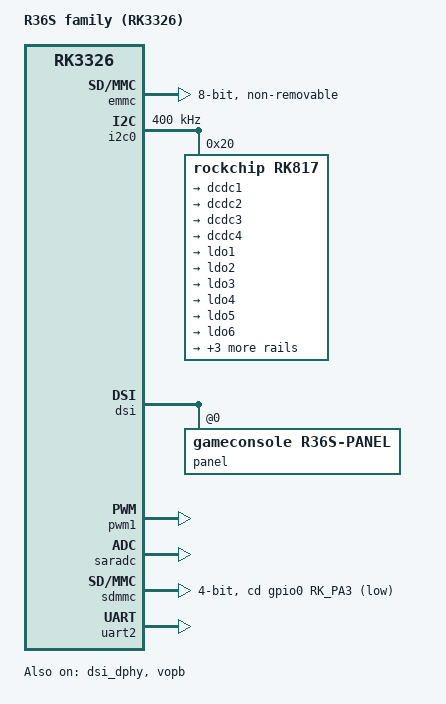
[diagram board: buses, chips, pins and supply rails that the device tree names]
// SPDX-License-Identifier: (GPL-2.0+ OR MIT)
/*
 * U-Boot control device tree for the R36S family (RK3326 handhelds).
 *
 * Only what every board of the family shares lives here. The board
 * specific parts (panel, backlight, PMIC rails, LEDs) come from the
 * screen DTB on the BOOT partition at run time, as with the vendor
 * U-Boot (rg351mp-uboot.dtb, rg351v-uboot.dtb, rg351p-uboot.dtb).
 */

/dts-v1/;
#include <dt-bindings/gpio/gpio.h>
#include <dt-bindings/pinctrl/rockchip.h>
#include "rk3326.dtsi"

/ {
	model = "R36S family (RK3326)";
	compatible = "gameconsole,r36s", "rockchip,rk3326";

	aliases {
		mmc0 = &emmc;
		mmc1 = &sdmmc;
	};

	chosen {
		stdout-path = "serial2:115200n8";
	};
};

/*
 * Built-in eMMC (some clones). Its pins (GPIO1_A0-A7, B1, B2) are button
 * pins on boards without eMMC, so the node has no pinctrl: board code
 * hands the pins to the eMMC only when it is used (vendor
 * andr36oid_emmc_pins()).
 */
&emmc {
	/delete-property/ pinctrl-names;
	/delete-property/ pinctrl-0;
	bus-width = <8>;
	cap-mmc-highspeed;
	non-removable;
	max-frequency = <26000000>;
	status = "okay";
};

&i2c0 {
	clock-frequency = <400000>;
	i2c-scl-falling-time-ns = <16>;
	i2c-scl-rising-time-ns = <280>;
	status = "okay";

	rk817: pmic@20 {
		compatible = "rockchip,rk817";
		reg = <0x20>;
		#clock-cells = <1>;
		clock-output-names = "rk808-clkout1", "xin32k";
		system-power-controller;

		/*
		 * No constraints here on purpose: the rails differ between
		 * clones, and like the vendor U-Boot we only set the ones the
		 * screen DTB from BOOT asks for.
		 */
		regulators {
			DCDC_REG1 {
				regulator-name = "dcdc1";
			};

			DCDC_REG2 {
				regulator-name = "dcdc2";
			};

			DCDC_REG3 {
				regulator-name = "dcdc3";
			};

			DCDC_REG4 {
				regulator-name = "dcdc4";
			};

			LDO_REG1 {
				regulator-name = "ldo1";
			};

			LDO_REG2 {
				regulator-name = "ldo2";
			};

			LDO_REG3 {
				regulator-name = "ldo3";
			};

			LDO_REG4 {
				regulator-name = "ldo4";
			};

			LDO_REG5 {
				regulator-name = "ldo5";
			};

			LDO_REG6 {
				regulator-name = "ldo6";
			};

			LDO_REG7 {
				regulator-name = "ldo7";
			};

			LDO_REG8 {
				regulator-name = "ldo8";
			};

			LDO_REG9 {
				regulator-name = "ldo9";
			};
		};
	};
};

/*
 * Display: VOP big -> DSI host -> Inno video PHY. The panel node is a
 * placeholder; panel, timing and backlight come from the screen DTB on
 * BOOT (board/gameconsole/r36s/panel.c).
 */
&dsi {
	status = "okay";

	panel@0 {
		compatible = "gameconsole,r36s-panel";
		reg = <0>;
	};
};

&dsi_dphy {
	status = "okay";
};

/* Backlight PWM on every screen DTB of the family */
&pwm1 {
	status = "okay";
};

&vopb {
	status = "okay";
};

&saradc {
	vdd-microvolts = <1800000>;
	status = "okay";
};

&sdmmc {
	bus-width = <4>;
	cap-mmc-highspeed;
	cap-sd-highspeed;
	cd-gpios = <&gpio0 RK_PA3 GPIO_ACTIVE_LOW>;
	status = "okay";
};

&uart2 {
	pinctrl-names = "default";
	pinctrl-0 = <&uart2m1_xfer>;
	status = "okay";
};
